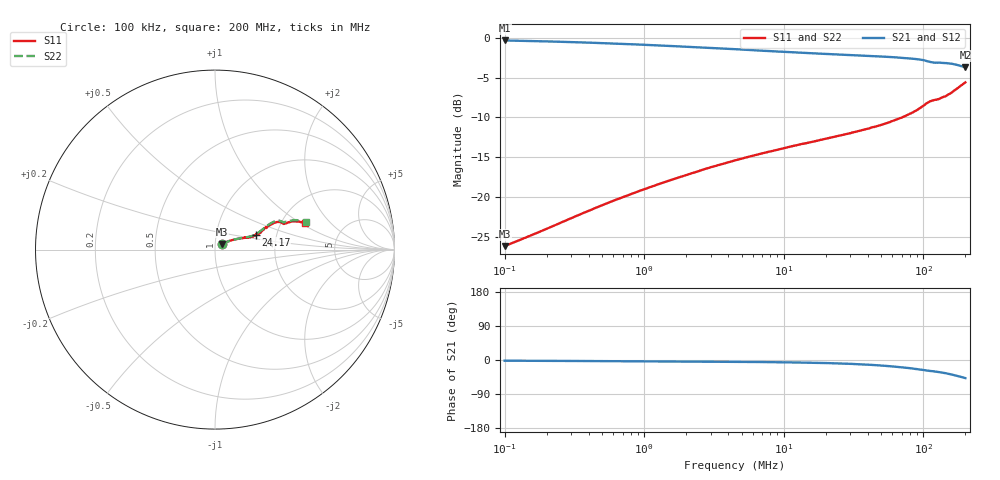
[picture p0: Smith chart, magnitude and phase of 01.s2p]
#  HZ  S  RI  R  50.00
! Rohde & Schwarz Vector Network Analyzer
! Rohde-Schwarz,ZNLE6-2Port,1323001256200024,1.71.1.10-23.02.1.238
! Created: UTC 4/11/2025, 8:18:19 AM
! freq[Hz]  re:S11  im:S11  re:S21  im:S21  re:S12  im:S12  re:S22  im:S22
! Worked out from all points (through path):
!   1001 points, 100 kHz to 200 MHz, reference 50 ohm
!   highest |S21| = -0.33 dB at 100 kHz (marker M1); lowest = -3.7 dB at 200 MHz (marker M2)
!   group delay of S21, straight-line fit = 625 ps
!   lowest |S11| = -26.2 dB at 100 kHz (marker M3), VSWR 1.10, Z = 53.8 + j3.33 ohm
!   |S11| at or under -10 dB: start of sweep to 70.49 MHz
!   |S22| runs from -26.2 to -5.5 dB; largest |S21 - S12| = 0.012
!   S11 on the Smith chart (normalised r, x): 100 kHz: 1.08, +0.07; 24.17 MHz: 1.56, +0.27; 200 MHz: 2.69, +1.11
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100000  0.0381 0.0308  0.9625 -0.031  0.9626 -0.0309  0.038 0.0308
355854.1  0.0655 0.0429  0.9353 -0.0435  0.9353 -0.0435  0.0654 0.0429
619793.8  0.0821 0.0489  0.9189 -0.0501  0.919 -0.0501  0.0819 0.0489
1266322  0.1064 0.0558  0.8943 -0.0585  0.8946 -0.0586  0.1064 0.0558
2607005  0.135 0.0605  0.8672 -0.0645  0.8659 -0.07  0.1342 0.0622
4472136  0.1567 0.0648  0.8462 -0.0706  0.8434 -0.0758  0.1564 0.0657
8796434  0.1853 0.0676  0.8168 -0.0808  0.8169 -0.0906  0.1839 0.0704
1.306051e7  0.2008 0.0732  0.8013 -0.0946  0.8009 -0.0965  0.2006 0.0739
1.591428e7  0.2088 0.0748  0.7937 -0.101  0.7924 -0.1051  0.2084 0.0767
2.417373e7  0.2262 0.0819  0.7766 -0.1225  0.775 -0.1266  0.2258 0.0844
3.843319e7  0.2478 0.0968  0.7545 -0.1618  0.7537 -0.1637  0.2477 0.0987
5.663162e7  0.2715 0.1125  0.7287 -0.2109  0.7259 -0.2178  0.271 0.118
6.299027e7  0.2794 0.1216  0.7185 -0.2295  0.7178 -0.2314  0.2798 0.1247
6.848331e7  0.2885 0.1223  0.7096 -0.242  0.7074 -0.2529  0.2869 0.1305
8.667956e7  0.3146 0.1414  0.6777 -0.2904  0.6742 -0.2978  0.3153 0.149
1.009107e8  0.3432 0.1532  0.6456 -0.3262  0.6416 -0.3331  0.3443 0.1613
1.097106e8  0.3648 0.1528  0.6217 -0.3399  0.6177 -0.3464  0.3656 0.159
1.229601e8  0.382 0.1429  0.6015 -0.3539  0.5963 -0.3598  0.382 0.151
1.420639e8  0.4005 0.1474  0.5733 -0.3906  0.5687 -0.3957  0.4034 0.1554
1.628929e8  0.432 0.1571  0.5309 -0.4327  0.5248 -0.439  0.4374 0.164
1.811826e8  0.4668 0.1565  0.4857 -0.4619  0.4799 -0.4671  0.4732 0.163
2e8  0.5034 0.1494  0.438 -0.4839  0.4321 -0.4885  0.5089 0.1544
